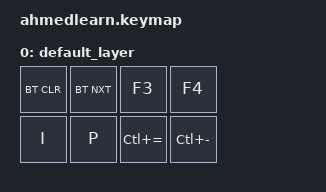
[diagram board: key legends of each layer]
#include <behaviors.dtsi>
#include <dt-bindings/zmk/keys.h>
#include <dt-bindings/zmk/bt.h>

/ {
    chosen {
        zmk,kscan = &kscan0;
    };

    keymap {
        compatible = "zmk,keymap";

        default_layer {
            bindings = <
               &bt BT_CLR &bt BT_NXT &kp F3      &kp F4         // Row 0: Physical keys + Virtual F3/F4
               &kp I      &kp P      &kp LC(EQUAL) &kp LC(MINUS) // Row 1: Physical keys + Virtual zoom
            >;
        };
    };
};
